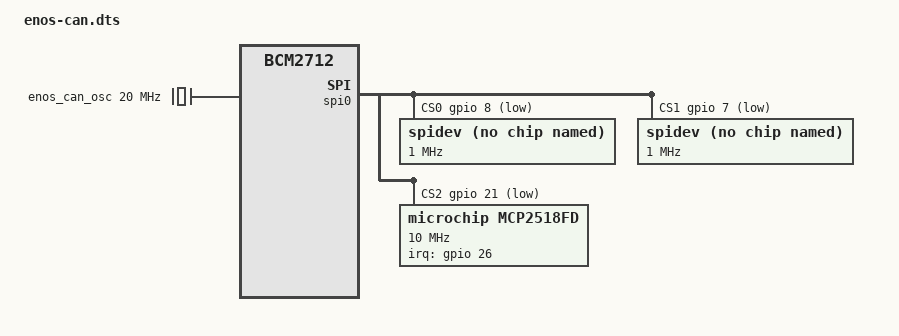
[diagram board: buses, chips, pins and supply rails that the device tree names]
/*
 * enos-can.dts
 *
 * Device Tree Overlay for ENOS Board — Raspberry Pi 5 (BCM2712 / RP1)
 *
 * STRATEGY: Self-Contained Bus Definition.
 * We define the entire SPI0 bus here (Pins, Controller, and Devices).
 * This forces the Chip Selects (CS0, CS1, CS2) into GPIO Output mode,
 * preventing the "0xFF" error caused by hardware SPI conflicts.
 */

/dts-v1/;
/plugin/;

/ {
    compatible = "brcm,bcm2712";

    /* Fragment 0: Define Pin Modes (Physical Layer) */
    fragment@0 {
        target = <&gpio>;
        __overlay__ {
            /* SPI0 Data/Clock: MISO(9), MOSI(10), SCLK(11) */
            enos_spi0_pins: enos_spi0_pins {
                brcm,pins = <9 10 11>;
                brcm,function = <4>; /* ALT0 (SPI) */
            };

            /* Chip Selects: CS0(8), CS1(7), CS2(21) -> FORCE OUTPUT */
            enos_cs_pins: enos_cs_pins {
                brcm,pins = <8 7 21>;
                brcm,function = <1>; /* Output */
                brcm,pull = <2>;     /* Pull-Up (High when idle) */
            };

            /* CAN Interrupt: GPIO 26 -> Input */
            enos_can_int: enos_can_int {
                brcm,pins = <26>;
                brcm,function = <0>; /* Input */
                brcm,pull = <2>;     /* Pull-Up */
            };
        };
    };

    /* Fragment 1: 20MHz Oscillator for CAN */
    fragment@1 {
        target-path = "/clocks";
        __overlay__ {
            enos_can_osc: enos_can_osc {
                compatible = "fixed-clock";
                #clock-cells = <0>;
                clock-frequency = <20000000>;
            };
        };
    };

    /* Fragment 2: The SPI Controller & Devices */
    fragment@2 {
        target = <&spi0>;
        __overlay__ {
            status = "okay";
            /* Use Software Chip Selects for ALL devices */
            cs-gpios = <&gpio 8 1>, <&gpio 7 1>, <&gpio 21 1>;
            num-cs = <3>;
            
            /* Apply Pin Settings to the Controller */
            pinctrl-names = "default";
            pinctrl-0 = <&enos_spi0_pins &enos_cs_pins>;

            /* Device 0: LoRa #1 (CS0) */
            spidev@0 {
                compatible = "spidev";
                reg = <0>;
                spi-max-frequency = <1000000>; /* 1 MHz */
            };

            /* Device 1: LoRa #2 (CS1) */
            spidev@1 {
                compatible = "spidev";
                reg = <1>;
                spi-max-frequency = <1000000>; /* 1 MHz */
            };

            /* Device 2: CAN Controller (CS2) */
            mcp2518fd: mcp2518fd@2 {
                compatible = "microchip,mcp2518fd";
                reg = <2>;
                spi-max-frequency = <10000000>; /* 10 MHz */
                clocks = <&enos_can_osc>;
                interrupt-parent = <&gpio>;
                interrupts = <26 8>; /* Level Low */
                pinctrl-names = "default";
                pinctrl-0 = <&enos_can_int>;
            };
        };
    };
};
